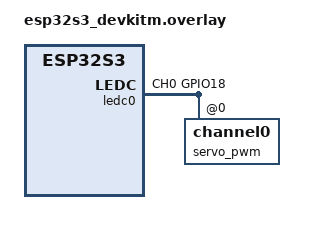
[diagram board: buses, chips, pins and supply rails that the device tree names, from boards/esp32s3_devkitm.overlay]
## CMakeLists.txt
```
cmake_minimum_required(VERSION 3.20.0)

find_package(Zephyr REQUIRED HINTS $ENV{ZEPHYR_BASE})

project(servo)

target_sources(app PRIVATE src/main.c)
```

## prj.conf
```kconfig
# ── PWM（舵机核心依赖）──────────────────────────────
CONFIG_PWM=y
 
# ── GPIO（LEDC 引脚复用底层依赖，必须开启）──────────
CONFIG_GPIO=y
 
# ── 日志系统 ─────────────────────────────────────────
CONFIG_LOG=y
CONFIG_PRINTK=y
 
# ── 堆栈 ─────────────────────────────────────────────
CONFIG_MAIN_STACK_SIZE=2048
 
```

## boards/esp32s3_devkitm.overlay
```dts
#include <zephyr/dt-bindings/pwm/pwm.h>

&pinctrl {
    ledc0_default: ledc0_default {
        group1 {
            pinmux = <LEDC_CH0_GPIO18>;
            output-enable;
        };
    };
};

&ledc0 {
    status = "okay";
    pinctrl-0 = <&ledc0_default>;
    pinctrl-names = "default";
    #address-cells = <1>;
    #size-cells = <0>;

    servo_pwm: channel0@0 {
        reg = <0x0>;
        timer = <0>;
        /* channel 子节点本身就是 pwm provider，直接在这里声明 */
    };
};

/ {
    aliases {
        servo0 = &pwm_servo;
    };

    pwm_servo: pwm_servo {
        compatible = "pwm-leds";
        /*
         * 引用 ledc0 本身作为 PWM controller
         * cell 格式取决于 espressif,esp32-ledc 的 #pwm-cells
         * 先用 <&ledc0 0 20000000 PWM_POLARITY_NORMAL> 试
         */
        pwms = <&ledc0 0 20000000 PWM_POLARITY_NORMAL>;
    };
};
```

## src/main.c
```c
#include <zephyr/kernel.h>
#include <zephyr/drivers/pwm.h>
#include <zephyr/logging/log.h>

LOG_MODULE_REGISTER(servo_demo, LOG_LEVEL_INF);

/* ── 从 DTS overlay 获取舵机 PWM 节点 ─────────────────────── */
static const struct pwm_dt_spec servo = PWM_DT_SPEC_GET(DT_ALIAS(servo0));

/* ── 舵机参数（单位：纳秒） ──────────────────────────────── */
#define SERVO_PERIOD_NS    20000000U   /* 20 ms = 50 Hz                 */
#define SERVO_MIN_PULSE_NS   500000U   /* 0.5 ms → 约  0°               */
#define SERVO_MAX_PULSE_NS  2500000U   /* 2.5 ms → 约 180°              */

/* ── 角度转脉冲宽度 ──────────────────────────────────────── */
static uint32_t angle_to_pulse_ns(uint8_t angle_deg)
{
    /* 线性插值: 0° → 500000ns, 180° → 2500000ns */
    return SERVO_MIN_PULSE_NS +
           (uint32_t)((SERVO_MAX_PULSE_NS - SERVO_MIN_PULSE_NS) *
                      (uint32_t)angle_deg / 180U);
}

/* ── 转到指定角度 ────────────────────────────────────────── */
static int servo_set_angle(uint8_t angle_deg)
{
    if (angle_deg > 180) {
        LOG_WRN("角度超出范围，截断到 180°");
        angle_deg = 180;
    }

    uint32_t pulse_ns = angle_to_pulse_ns(angle_deg);
    int ret = pwm_set_dt(&servo, SERVO_PERIOD_NS, pulse_ns);
    if (ret < 0) {
        LOG_ERR("PWM 设置失败: %d", ret);
    } else {
        LOG_INF("舵机 → %3d°  (脉冲: %u ns)", angle_deg, pulse_ns);
    }
    return ret;
}

/* ── 平滑扫描: 从 from° 扫到 to°，步进 step°，每步延迟 ms ── */
static void servo_sweep(uint8_t from, uint8_t to, uint8_t step_deg, uint32_t delay_ms)
{
    if (from <= to) {
        for (uint8_t a = from; a <= to; a += step_deg) {
            servo_set_angle(a);
            k_msleep(delay_ms);
        }
    } else {
        /* 避免 uint8_t 下溢：用 int16_t 做循环 */
        for (int16_t a = from; a >= to; a -= step_deg) {
            servo_set_angle((uint8_t)a);
            k_msleep(delay_ms);
        }
    }
}

/* ── 主程序 ──────────────────────────────────────────────── */
int main(void)
{
    LOG_INF("=== ESP32-S3 Zephyr 舵机示例启动 ===");

    /* 检查 PWM 设备是否就绪 */
    if (!pwm_is_ready_dt(&servo)) {
        LOG_ERR("PWM 设备未就绪，请检查 overlay 配置");
        return -ENODEV;
    }

    LOG_INF("PWM 设备就绪，开始控制舵机...");

    while (1) {
        /* ① 转到 0° */
        LOG_INF("── 定位到 0°");
        servo_set_angle(0);
        k_msleep(1000);

        /* ② 慢速扫描 0° → 180° */
        LOG_INF("── 慢速扫描: 0° → 180°");
        servo_sweep(0, 180, 2, 20);   /* 每 2° 一步，每步 20ms */
        k_msleep(500);

        /* ③ 快速扫描 180° → 0° */
        LOG_INF("── 快速扫描: 180° → 0°");
        servo_sweep(180, 0, 5, 10);   /* 每 5° 一步，每步 10ms */
        k_msleep(500);

        /* ④ 定点演示：0° → 90° → 45° → 135° → 180° */
        LOG_INF("── 定点序列");
        uint8_t positions[] = {0, 90, 45, 135, 180};
        for (int i = 0; i < ARRAY_SIZE(positions); i++) {
            servo_set_angle(positions[i]);
            k_msleep(800);
        }

        k_msleep(1000);
    }

    return 0;
}
```
